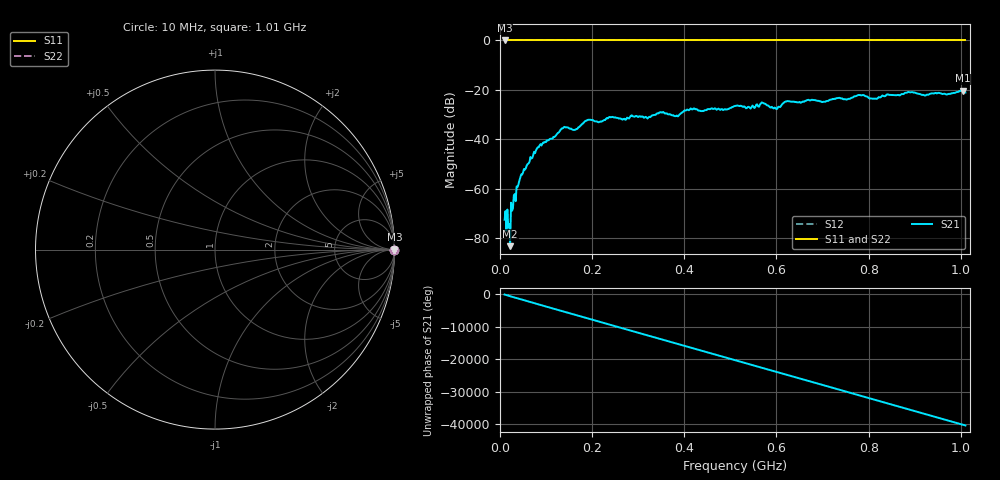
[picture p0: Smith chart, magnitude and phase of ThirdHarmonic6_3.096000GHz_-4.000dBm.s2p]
! 8/17/2025 9:07:07 AM
! C:\ANRITSUVNA\TEMP\TEMP.S2P
! CHANNEL.1
! TR.MEASUREMENT
! RAW.DATA
! RF.CORRECTION.OFF
! AVERAGING.OFF
! IF.BANDWIDTH: 5KHZ
! SWEEPTYPE:  FREQ.SWEEP(Linear)
! Reference Plane Port Info
! PORT:  PORT1  PORT2
! DISTANCE:  0  m  0  m
! TIME:  0  s  0  s
! PHASE.OFFSET:  0  deg.  0  deg.
! LOSS:  0  dB  0  dB
! REF.LOSS:  0  dB  0  dB
! REF.FREQ:  0  Hz  0  Hz
! Power Info
! POWER:  -20  dBm  -20  dBm
! EFF.POWER:  -20  dBm  -20  dBm
! SOURCE.ATTEN:  0  dB  0  dB
! TEST.ATTEN:  0  dB  0  dB
# GHZ S RI R 50.0
! FREQ.GHZ  S11RE  S11IM  S21RE  S21IM  S12RE  S12IM  S22RE  S22IM
!; PortSelection: Port_12
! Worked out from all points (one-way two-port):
!   501 points, 10 MHz to 1.01 GHz, reference 50 ohm
!   highest |S21| = -20.37 dB at 1.004 GHz (marker M1); lowest = -83.2 dB at 22 MHz (marker M2)
!   lowest |S11| = 0.0 dB at 10 MHz (marker M3)
!   |S11| at or under -10 dB: nowhere
!   |S22| runs from 0.0 to 0.0 dB; largest |S21 - S12| = 1.1
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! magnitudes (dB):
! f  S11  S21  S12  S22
! 10 MHz  0.0  -72.5  0.0  0.0
! 16 MHz  0.0  -68.4  0.0  0.0
! 18 MHz  0.0  -75.6  0.0  0.0
! 22 MHz  0.0  -83.2  0.0  0.0
! 28 MHz  0.0  -68.0  0.0  0.0
! 46 MHz  0.0  -54.2  0.0  0.0
! 84 MHz  0.0  -43.2  0.0  0.0
! 136 MHz  0.0  -35.6  0.0  0.0
! 162 MHz  0.0  -36.2  0.0  0.0
! 178 MHz  0.0  -33.9  0.0  0.0
! 192 MHz  0.0  -32.1  0.0  0.0
! 344 MHz  0.0  -29.5  0.0  0.0
! 384 MHz  0.0  -30.4  0.0  0.0
! 418 MHz  0.0  -27.9  0.0  0.0
! 510 MHz  0.0  -26.5  0.0  0.0
! 570 MHz  0.0  -25.2  0.0  0.0
! 598 MHz  0.0  -27.3  0.0  0.0
! 622 MHz  0.0  -24.7  0.0  0.0
! 678 MHz  0.0  -24.1  0.0  0.0
! 844 MHz  0.0  -22.0  0.0  0.0
! 1.004 GHz  0.0  -20.4  0.0  0.0
! 1.01 GHz  0.0  -21.0  0.0  0.0
